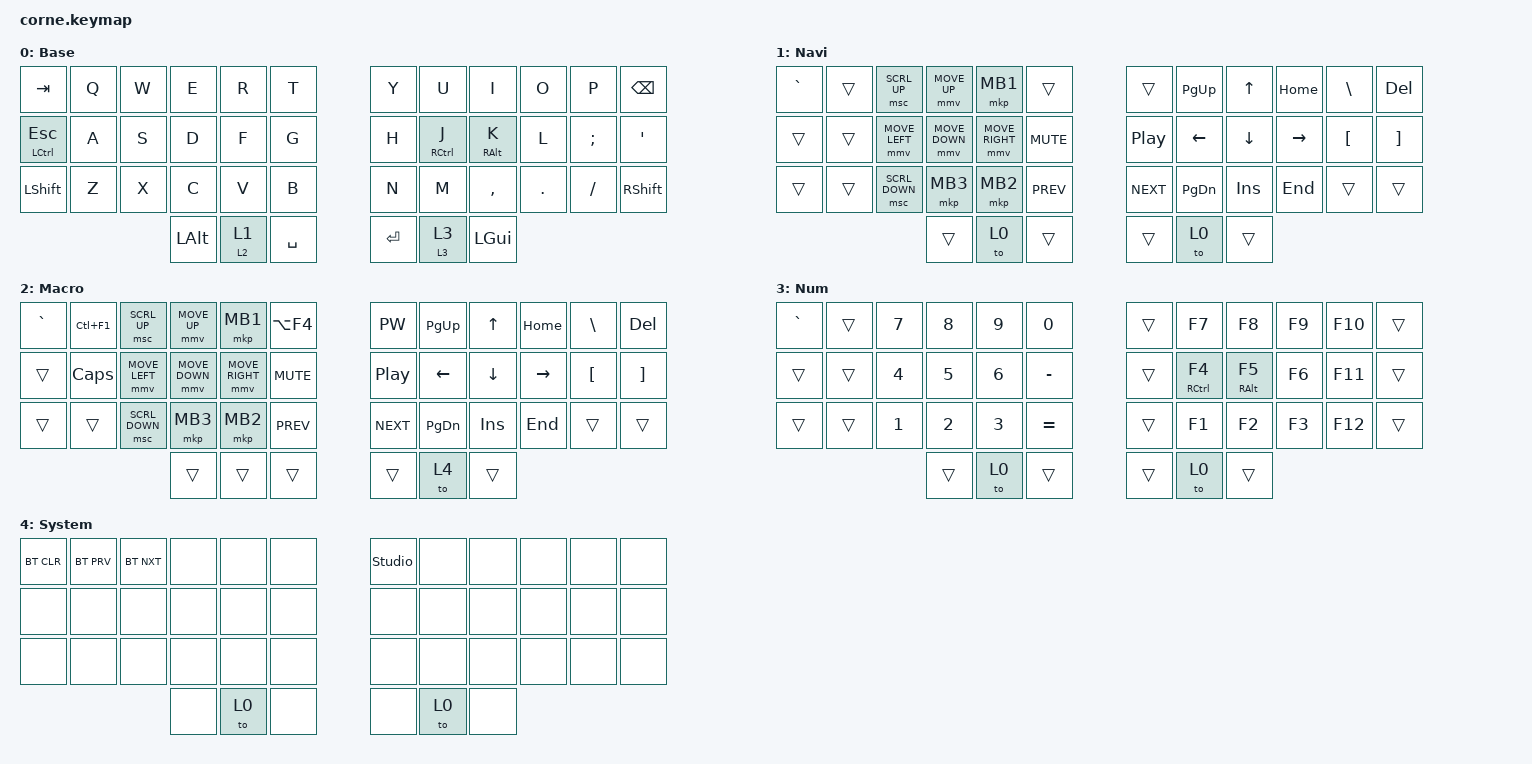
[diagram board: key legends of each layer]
/*
 * Copyright (c) 2020 The ZMK Contributors
 *
 * SPDX-License-Identifier: MIT
 */

#include <behaviors.dtsi>
#include <dt-bindings/zmk/bt.h>
#include <dt-bindings/zmk/keys.h>
#include <dt-bindings/zmk/pointing.h>

#define ZMK_POINTING_DEFAULT_MOVE_VAL 1200

&mt { tapping-term-ms = <140>; };

&mmv { delay-ms = <200>; };

/ {
    macros {
        CAD: CAD {
            compatible = "zmk,behavior-macro";
            #binding-cells = <0>;
            bindings = <&kp LC(LA(DEL))>;
            label = "CAD";
        };

        #include "secret_macros.dtsi"
    };

    behaviors {
        mo_tog: mo_tog {
            compatible = "zmk,behavior-hold-tap";
            label = "Hold for momentary and tap for toggle";
            bindings = <&mo>, <&tog>;

            #binding-cells = <2>;
            tapping-term-ms = <150>;
        };

        hr_mt: hr_mt {
            compatible = "zmk,behavior-hold-tap";
            label = "Home row hold tap";
            bindings = <&kp>, <&kp>;

            #binding-cells = <2>;
            tapping-term-ms = <200>;
            quick-tap-ms = <200>;
            flavor = "tap-preferred";
        };
    };

    keymap {
        compatible = "zmk,keymap";

        base_layer {
            display-name = "Base";
            bindings = <
&kp TAB        &kp Q  &kp W  &kp E         &kp R        &kp T        &kp Y    &kp U           &kp I               &kp O    &kp P     &kp BSPC
&mt LCTRL ESC  &kp A  &kp S  &kp D         &kp F        &kp G        &kp H    &hr_mt RCTRL J  &hr_mt RIGHT_ALT K  &kp L    &kp SEMI  &kp SQT
&kp LSHFT      &kp Z  &kp X  &kp C         &kp V        &kp B        &kp N    &kp M           &kp COMMA           &kp DOT  &kp FSLH  &kp RSHIFT
                             &kp LEFT_ALT  &mo_tog 2 1  &kp SPACE    &kp RET  &mo_tog 3 3     &kp LEFT_GUI
            >;
        };

        navi_layer {
            display-name = "Navi";
            bindings = <
&kp GRAVE  &trans  &msc SCRL_UP    &mmv MOVE_UP    &mkp MB1         &trans        &trans            &kp PAGE_UP    &kp UP    &kp HOME   &kp BSLH  &kp DEL
&trans     &trans  &mmv MOVE_LEFT  &mmv MOVE_DOWN  &mmv MOVE_RIGHT  &kp C_MUTE    &kp C_PLAY_PAUSE  &kp LEFT       &kp DOWN  &kp RIGHT  &kp LBKT  &kp RBKT
&trans     &trans  &msc SCRL_DOWN  &mkp MB3        &mkp MB2         &kp C_PREV    &kp C_NEXT        &kp PAGE_DOWN  &kp INS   &kp END    &trans    &trans
                                   &trans          &to 0            &trans        &trans            &to 0          &trans
            >;
        };

        macro_layer {
            display-name = "Macro";
            bindings = <
&kp GRAVE  &kp LC(F1)  &msc SCRL_UP    &mmv MOVE_UP    &mkp MB1         &kp LA(F4)    &PW               &kp PAGE_UP    &kp UP    &kp HOME   &kp BSLH  &kp DEL
&trans     &kp CAPS    &mmv MOVE_LEFT  &mmv MOVE_DOWN  &mmv MOVE_RIGHT  &kp C_MUTE    &kp C_PLAY_PAUSE  &kp LEFT       &kp DOWN  &kp RIGHT  &kp LBKT  &kp RBKT
&trans     &trans      &msc SCRL_DOWN  &mkp MB3        &mkp MB2         &kp C_PREV    &kp C_NEXT        &kp PAGE_DOWN  &kp INS   &kp END    &trans    &trans
                                       &trans          &trans           &trans        &trans            &to 4          &trans
            >;
        };

        num_layer {
            display-name = "Num";
            bindings = <
&kp GRAVE  &trans  &kp N7  &kp N8  &kp N9  &kp N0       &trans  &kp F7           &kp F8               &kp F9  &kp F10  &trans
&trans     &trans  &kp N4  &kp N5  &kp N6  &kp MINUS    &trans  &hr_mt RCTRL F4  &hr_mt RIGHT_ALT F5  &kp F6  &kp F11  &trans
&trans     &trans  &kp N1  &kp N2  &kp N3  &kp EQUAL    &trans  &kp F1           &kp F2               &kp F3  &kp F12  &trans
                           &trans  &to 0   &trans       &trans  &to 0            &trans
            >;
        };

        system_layer {
            display-name = "System";
            bindings = <
&bt BT_CLR  &bt BT_PRV  &bt BT_NXT  &none  &none  &none    &studio_unlock  &none  &none  &none  &none  &none
&none       &none       &none       &none  &none  &none    &none           &none  &none  &none  &none  &none
&none       &none       &none       &none  &none  &none    &none           &none  &none  &none  &none  &none
                                    &none  &to 0  &none    &none           &to 0  &none
            >;
        };
    };
};
